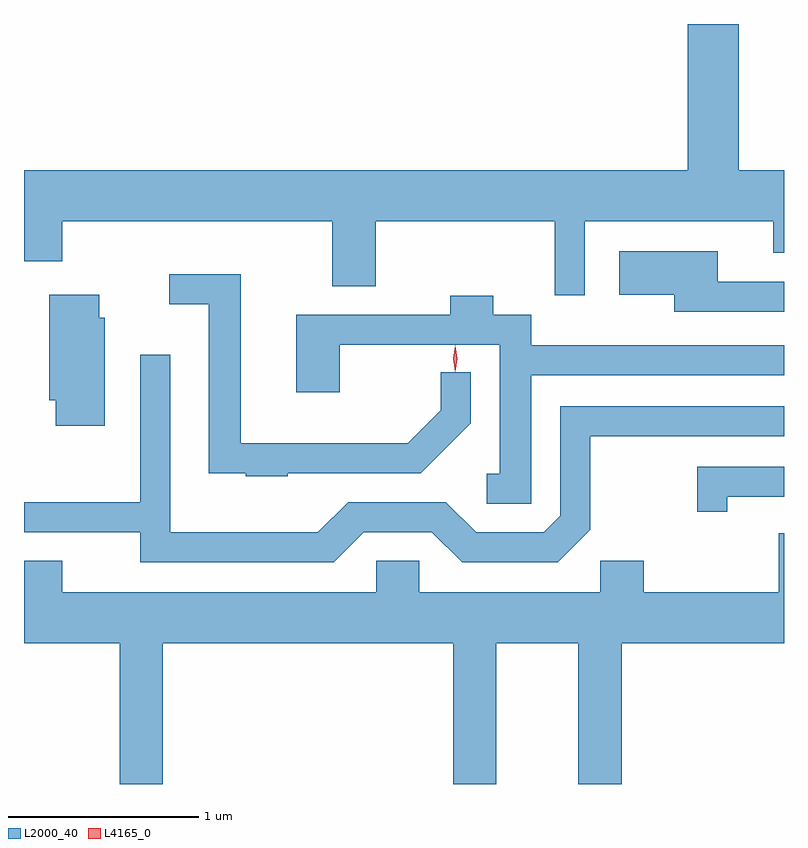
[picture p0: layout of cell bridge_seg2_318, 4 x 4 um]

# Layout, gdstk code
import gdstk
lib = gdstk.Library(unit=1e-6, precision=1e-09)
def P(c, l, *ps):  # polygons
    for p in ps: c.add(gdstk.Polygon(p, *l))
L2000_40 = (2000, 40)
L4165_0 = (4165, 0)

bridge_seg2_318 = lib.new_cell('bridge_seg2_318')
P(bridge_seg2_318, L2000_40, [(333.489,997.256),(334.481,997.256),(334.481,997.091),(334.538,997.091),(334.538,997.524),(334.299,997.524),(334.299,998.295),(334.031,998.295),(334.031,997.524),(330.538,997.524),(330.538,997.046),(330.739,997.046),(330.739,997.256),(332.161,997.256),(332.161,996.916),(332.389,996.916),(332.389,997.256),(333.331,997.256),(333.331,996.868),(333.489,996.868)],
  [(334.538,996.939),(334.189,996.939),(334.189,997.099),(333.671,997.099),(333.671,996.871),(333.961,996.871),(333.961,996.781),(334.538,996.781)],
  [(331.925,995.931),(332.627,995.931),(332.889,996.194),(332.889,996.463),(332.731,996.463),(332.731,996.262),(332.559,996.089),(331.679,996.089),(331.679,996.979),(331.303,996.979),(331.303,996.821),(331.511,996.821),(331.511,995.931),(331.705,995.931),(331.705,995.916),(331.925,995.916)],
  [(330.964,996.749),(330.934,996.749),(330.934,996.869),(330.671,996.869),(330.671,996.316),(330.706,996.316),(330.706,996.181),(330.964,996.181)],
  [(333.209,996.446),(334.538,996.446),(334.538,996.604),(333.209,996.604),(333.209,996.764),(333.009,996.764),(333.009,996.864),(332.781,996.864),(332.781,996.764),(331.971,996.764),(331.971,996.356),(332.199,996.356),(332.199,996.606),(333.041,996.606),(333.041,995.929),(332.973,995.929),(332.973,995.771),(333.209,995.771)],
  [(332.327,995.621),(332.684,995.621),(332.844,995.461),(333.347,995.461),(333.519,995.634),(333.519,996.126),(334.538,996.126),(334.538,996.284),(333.361,996.284),(333.361,995.707),(333.274,995.619),(332.917,995.619),(332.757,995.779),(332.244,995.779),(332.084,995.619),(331.309,995.619),(331.309,996.553),(331.151,996.553),(331.151,995.779),(330.538,995.779),(330.538,995.621),(331.151,995.621),(331.151,995.461),(332.167,995.461)],
  [(334.239,995.806),(334.538,995.806),(334.538,995.964),(334.081,995.964),(334.081,995.728),(334.239,995.728)],
  [(331.269,995.036),(332.796,995.036),(332.796,994.295),(333.024,994.295),(333.024,995.036),(333.456,995.036),(333.456,994.295),(333.684,994.295),(333.684,995.036),(334.538,995.036),(334.538,995.614),(334.511,995.614),(334.511,995.304),(333.799,995.304),(333.799,995.469),(333.571,995.469),(333.571,995.304),(332.619,995.304),(332.619,995.469),(332.391,995.469),(332.391,995.304),(330.739,995.304),(330.739,995.469),(330.538,995.469),(330.538,995.036),(331.041,995.036),(331.041,994.295),(331.269,994.295)])
P(bridge_seg2_318, L4165_0, [(332.808,996.463),(332.808,996.464),(332.798,996.533),(332.808,996.602),(332.808,996.603),(332.809,996.602),(332.818,996.533),(332.809,996.464)])

lib.write_gds('bridge_seg2_318.gds')
